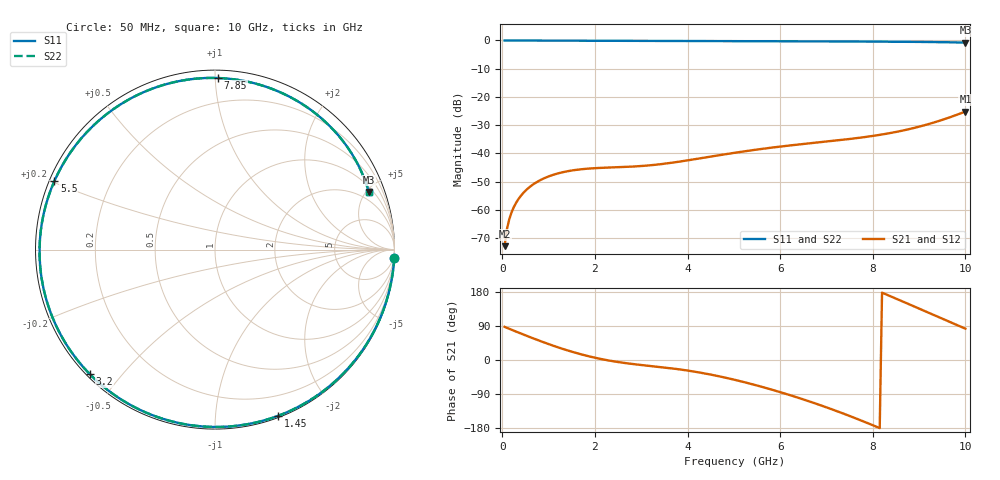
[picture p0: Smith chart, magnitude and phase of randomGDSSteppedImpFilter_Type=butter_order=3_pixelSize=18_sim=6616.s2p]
! freq	dB(S11)	phase(S11)	dB(S12)	phase(S12)
!  dB(S21)	phase(S21)	dB(S22)	phase(S22)
!S-par simulation data
#  GHz  S  DB  R 50
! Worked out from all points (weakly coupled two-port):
!   200 points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, 50 MHz to 10 GHz, reference 50 ohm
!   highest |S21| = -25.16 dB at 10 GHz (marker M1); lowest = -72.8 dB at 50 MHz (marker M2)
!   lowest |S11| = -0.8 dB at 10 GHz (marker M3), VSWR 22.64, Z = 65.6 + j260 ohm
!   |S11| at or under -10 dB: nowhere
!   |S22| runs from -0.8 to 0.0 dB; largest |S21 - S12| = 0
!   S11 on the Smith chart (normalised r, x): 50 MHz: 0, -45; 1.45 GHz: 0.01, -1.45; 3.2 GHz: 0.01, -0.41; 5.5 GHz: 0.01, +0.20; 7.85 GHz: 0.05, +1.02; 10 GHz: 1.31, +5.20
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0.05  -0.00 -2.5  -72.81 87.4  -72.81 87.4  -0.00 -2.5
0.1  -0.01 -5.1  -66.81 84.9  -66.81 84.9  -0.01 -5.1
0.2  -0.01 -10.1  -60.84 79.8  -60.84 79.8  -0.01 -10.1
0.3  -0.02 -15.1  -57.40 74.8  -57.40 74.8  -0.02 -15.1
0.45  -0.03 -22.5  -54.04 67.5  -54.04 67.5  -0.03 -22.5
0.85  -0.05 -41.9  -49.19 48.7  -49.19 48.7  -0.05 -41.9
1.45  -0.08 -69.3  -46.16 23.8  -46.16 23.8  -0.08 -69.3
1.75  -0.10 -82.1  -45.51 13.4  -45.51 13.4  -0.10 -82.1
2.4  -0.12 -107.5  -44.92 -3.5  -44.92 -3.5  -0.12 -107.5
3.2  -0.14 -135.2  -44.17 -15.8  -44.17 -15.8  -0.14 -135.2
3.4  -0.15 -141.7  -43.83 -18.4  -43.83 -18.4  -0.15 -141.6
4.2  -0.18 -166.1  -41.92 -31.8  -41.92 -31.8  -0.18 -166.0
5.05  -0.22 169.6  -39.68 -53.2  -39.68 -53.2  -0.22 169.7
5.5  -0.24 156.9  -38.61 -67.3  -38.61 -67.3  -0.24 157.0
6.1  -0.27 140.1  -37.37 -88.4  -37.37 -88.4  -0.27 140.2
6.7  -0.31 123.0  -36.29 -112.1  -36.29 -112.1  -0.31 123.1
7.3  -0.35 105.5  -35.24 -138.4  -35.24 -138.4  -0.35 105.6
7.85  -0.39 88.9  -34.15 -164.6  -34.15 -164.6  -0.39 89.1
8.35  -0.43 73.5  -32.86 170.0  -32.86 170.0  -0.43 73.7
9.1  -0.53 49.7  -30.08 130.3  -30.08 130.3  -0.53 49.9
9.55  -0.62 35.2  -27.84 106.5  -27.84 106.5  -0.62 35.4
10  -0.77 20.5  -25.16 82.7  -25.16 82.7  -0.77 20.7
